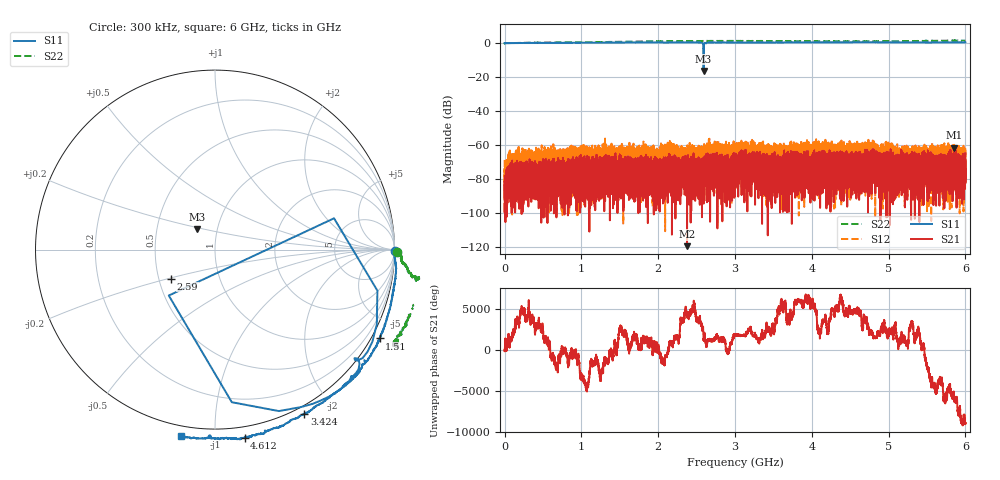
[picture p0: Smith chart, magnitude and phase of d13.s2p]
!Agilent Technologies,N5230C,SG49000117,A.08.50.07
!Agilent N5230C: A.08.50.07
!Date: Thursday, May 16, 2024 17:50:23
!Correction: S11(Full 2 Port(1,2))
!S21(Full 2 Port(1,2))
!S12(Full 2 Port(1,2))
!S22(Full 2 Port(1,2))
!S2P File: Measurements: S11, S21, S12, S22:
# Hz S  MA  R 50
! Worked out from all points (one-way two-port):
!   20001 points, 300 kHz to 6 GHz, reference 50 ohm
!   highest |S21| = -61.67 dB at 5.849 GHz (marker M1); lowest = -119.6 dB at 2.376 GHz (marker M2)
!   lowest |S11| = -16.3 dB at 2.591 GHz (marker M3), VSWR 1.36, Z = 40 + j9.47 ohm
!   |S11| at or under -10 dB: 2.589964 GHz to 2.591813 GHz (1.849 MHz wide, 0.0714 % of centre)
!   |S22| runs from -0.3 to 1.6 dB; largest |S21 - S12| = 0.0017
!   S11 on the Smith chart (normalised r, x): 300 kHz: open; 1.51 GHz: -0.34, -3.93; 2.59 GHz: 0.58, -0.21; 3.424 GHz: -0.08, -1.68; 4.612 GHz: -0.07, -1.17; 6 GHz: -0.05, -0.83
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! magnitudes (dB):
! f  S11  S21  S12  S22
! 300 kHz  0.0  -94.9  -68.8  0.1
! 30.9 MHz  0.0  -84.8  -71.3  0.0
! 166.5 MHz  0.0  -74.9  -76.7  0.1
! 1 GHz  0.2  -76.8  -75.0  0.5
! 1.51 GHz  0.4  -74.5  -62.5  0.8
! 2 GHz  0.4  -88.7  -83.9  1.1
! 2.143 GHz  0.4  -77.2  -70.0  1.2
! 2.376 GHz  0.4  -119.6  -68.3  1.3
! 2.439 GHz  0.4  -80.1  -68.5  1.3
! 2.59 GHz  -10.7  -82.0  -67.7  1.3
! 2.591 GHz  -16.3  -75.1  -72.5  1.3
! 3 GHz  0.3  -77.5  -63.3  1.3
! 3.11 GHz  0.3  -69.9  -60.3  1.3
! 3.424 GHz  0.3  -85.3  -64.9  1.2
! 4 GHz  0.4  -78.3  -69.5  1.2
! 4.612 GHz  0.5  -76.7  -69.6  1.1
! 4.811 GHz  0.5  -68.7  -75.5  1.0
! 4.902 GHz  0.5  -84.2  -75.6  1.1
! 5 GHz  0.5  -83.3  -65.5  1.1
! 5.128 GHz  0.5  -71.1  -72.5  1.1
! 5.849 GHz  0.5  -61.7  -64.0  1.5
! 6 GHz  0.5  -79.1  -67.6  1.5
